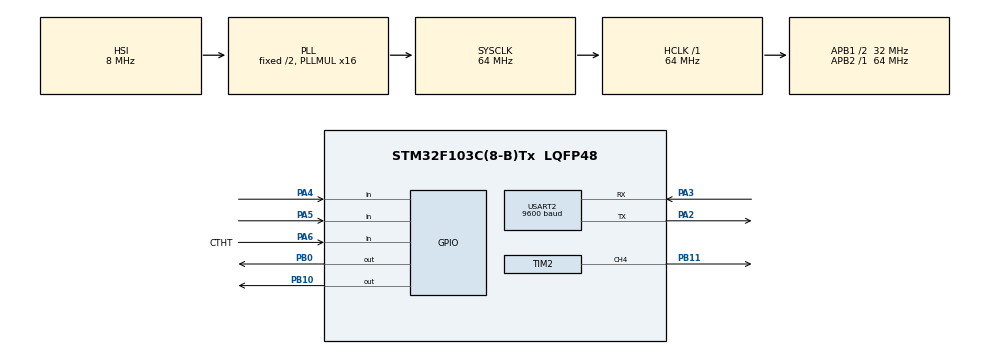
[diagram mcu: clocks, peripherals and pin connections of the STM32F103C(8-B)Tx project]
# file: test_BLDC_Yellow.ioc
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Dma.Request0=USART2_RX
Dma.USART2_RX.0.Direction=DMA_PERIPH_TO_MEMORY
Dma.USART2_RX.0.Instance=DMA1_Channel6
Dma.USART2_RX.0.MemDataAlignment=DMA_MDATAALIGN_BYTE
Dma.USART2_RX.0.MemInc=DMA_MINC_ENABLE
Dma.USART2_RX.0.Mode=DMA_CIRCULAR
Dma.USART2_RX.0.PeriphDataAlignment=DMA_PDATAALIGN_BYTE
Dma.USART2_RX.0.PeriphInc=DMA_PINC_DISABLE
Dma.USART2_RX.0.Priority=DMA_PRIORITY_LOW
Mcu.Family=STM32F1
Mcu.Name=STM32F103C(8-B)Tx
Mcu.Package=LQFP48
NVIC.DMA1_Channel6_IRQn=true\:0\:0\:false\:false\:true\:false\:true\:true
NVIC.PriorityGroup=NVIC_PRIORITYGROUP_4
NVIC.TIM1_BRK_IRQn=true\:0\:0\:false\:false\:true\:true\:true\:true
NVIC.TIM1_CC_IRQn=true\:0\:0\:false\:false\:true\:true\:true\:true
NVIC.TIM1_TRG_COM_IRQn=true\:0\:0\:false\:false\:true\:true\:true\:true
NVIC.TIM1_UP_IRQn=true\:0\:0\:false\:false\:true\:true\:true\:true
NVIC.TIM2_IRQn=true\:0\:0\:false\:false\:true\:true\:true\:true
NVIC.TIM3_IRQn=true\:0\:0\:false\:false\:true\:true\:true\:true
NVIC.USART2_IRQn=true\:0\:0\:false\:false\:true\:true\:true\:true
PA13.Mode=Serial_Wire
PA13.Signal=SYS_JTMS-SWDIO
PA14.Mode=Serial_Wire
PA14.Signal=SYS_JTCK-SWCLK
PA2.Mode=Asynchronous
PA2.Signal=USART2_TX
PA3.Mode=Asynchronous
PA3.Signal=USART2_RX
PA4.Signal=GPIO_Input
PA5.Signal=GPIO_Input
PA6.GPIO_Label=CTHT
PA6.Signal=GPIO_Input
PB0.Signal=GPIO_Output
PB10.GPIO_PuPd=GPIO_PULLDOWN
PB10.Signal=GPIO_Output
PB11.Signal=S_TIM2_CH4
ProjectManager.HeapSize=0x200
ProjectManager.StackSize=0x400
ProjectManager.TargetToolchain=MDK-ARM V5.32
RCC.AHBFreq_Value=64000000
RCC.APB1CLKDivider=RCC_HCLK_DIV2
RCC.APB1Freq_Value=32000000
RCC.APB1TimFreq_Value=64000000
RCC.APB2Freq_Value=64000000
RCC.APB2TimFreq_Value=64000000
RCC.HCLKFreq_Value=64000000
RCC.PLLMUL=RCC_PLL_MUL16
RCC.SYSCLKFreq_VALUE=64000000
RCC.SYSCLKSource=RCC_SYSCLKSOURCE_PLLCLK
RCC.USBFreq_Value=64000000
SH.S_TIM2_CH4.0=TIM2_CH4,PWM Generation4 CH4
TIM1.Period=10
TIM1.Prescaler=63
TIM2.Channel-PWM\ Generation4\ CH4=TIM_CHANNEL_4
TIM2.Period=100
TIM2.Prescaler=6
TIM3.Period=100
TIM3.Prescaler=6
USART2.BaudRate=9600
USART2.VirtualMode=VM_ASYNC
USART2.WordLength=WORDLENGTH_8B
VP_TIM1_VS_ClockSourceINT.Mode=Internal
VP_TIM2_VS_ClockSourceINT.Mode=Internal
VP_TIM3_VS_ClockSourceINT.Mode=Internal
board=custom

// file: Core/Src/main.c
/* USER CODE BEGIN Header */
/**
  ******************************************************************************
  * @file           : main.c
  * @brief          : Main program body
  ******************************************************************************
  * @attention
  *
  * Copyright (c) 2025 STMicroelectronics.
  * All rights reserved.
  *
  * This software is licensed under terms that can be found in the LICENSE file
  * in the root directory of this software component.
  * If no LICENSE file comes with this software, it is provided AS-IS.
  *
  ******************************************************************************
  */
/* USER CODE END Header */
#include "main.h"

/* USER CODE BEGIN PTD */

#define PI 3.14159265359
int8_t Array_ECD[] = {0,-1,1,0,1,0,0,-1,-1,0,0,1,0,1,-1,0};
int32_t EncoderCount;
char EncoderVal =0;
char A1,B1;
double ECD = 0, PrevECD = 0, TargetECD = 0;
int setpoint,prevsetpoint;
double controlSignal,integral,derivative;
float PWM = 0;
float KP=1;
uint8_t MAXPWM = 30;
uint8_t State=0;
uint8_t State_RO =0;
int32_t EncoderCount = 0;
int16_t Encoder[4] = {0};
int32_t SetECD = 0;
int32_t prevTargetECD = 0;
uint8_t DATA[12] = {250,0,0,
                    0,0,
                    0,0,
                    0,0,
                    0,0,200
                   };
uint8_t UDATA[12]= {250,0,0,
                    0,0,
                    0,0,
                    0,0,
                    0,0,200
                   };
uint8_t OneTime_Uart = 0, OneTime_Uart_1=0;
int StatusUart = 0,PreStatusUart = 0;
uint8_t Time = 250;
int8_t Data_X = 0, Data_Y = 0, Data_O = 0;
double Radian =0, Angle = 0,Strength = 0;
uint8_t State_CTHT,State_Home =0, State_Home_1 =0;
int dem,Check,brake;

uint8_t ID_DEVICE = 1;/////////////////////////////////////////////////////////
/* USER CODE END PTD */

TIM_HandleTypeDef htim1;
TIM_HandleTypeDef htim2;
TIM_HandleTypeDef htim3;

UART_HandleTypeDef huart2;
DMA_HandleTypeDef hdma_usart2_rx;

void SystemClock_Config(void);
static void MX_GPIO_Init(void);
static void MX_DMA_Init(void);
static void MX_TIM2_Init(void);
static void MX_TIM3_Init(void);
static void MX_TIM1_Init(void);
static void MX_USART2_UART_Init(void);

/* USER CODE BEGIN 0 */

long map(long x, long in_min, long in_max, long out_min, long out_max) {
    return (x - in_min) * (out_max - out_min) / (in_max - in_min) + out_min;
}
void Trans_Data(void) {
    Encoder[0] = (int16_t)((DATA[1] << 8) | DATA[2]);
    Encoder[1] = (int16_t)((DATA[3] << 8) | DATA[4]);
    Encoder[2] = (int16_t)((DATA[5] << 8) | DATA[6]);
    Encoder[3] = (int16_t)((DATA[7] << 8) | DATA[8]);
}

void XuliPWM() {
    setpoint = SetECD - EncoderCount ;
    if( setpoint > 50 ||  setpoint < -50) {
        KP = 1;
    }
    if( setpoint < 50 ||  setpoint > -50) {
        KP = 0.5;
    }

    controlSignal = (KP	* setpoint);

    if(controlSignal > MAXPWM ) {
        controlSignal = MAXPWM;
    }
    else if(controlSignal< -MAXPWM) {
        controlSignal = -MAXPWM;
    }

    PWM = controlSignal;
		brake= HAL_GPIO_ReadPin(GPIOB, GPIO_PIN_0);
    if(PWM>20) {
        HAL_GPIO_WritePin(GPIOB, GPIO_PIN_10, GPIO_PIN_SET);
				HAL_GPIO_WritePin(GPIOB, GPIO_PIN_0, GPIO_PIN_SET);
        __HAL_TIM_SET_COMPARE(&htim2,TIM_CHANNEL_4,PWM );
				Check=1;
    }
    else if(PWM < -20) {
        HAL_GPIO_WritePin(GPIOB, GPIO_PIN_10, GPIO_PIN_RESET);
				HAL_GPIO_WritePin(GPIOB, GPIO_PIN_0, GPIO_PIN_SET);
        __HAL_TIM_SET_COMPARE(&htim2,TIM_CHANNEL_4,-PWM );
			Check=2;
    }
    else  {
        HAL_GPIO_WritePin(GPIOB, GPIO_PIN_0, GPIO_PIN_RESET);
        __HAL_TIM_SET_COMPARE(&htim2,TIM_CHANNEL_4,0);
			Check=3;
    }
}

void HAL_TIM_PeriodElapsedCallback(TIM_HandleTypeDef *htim)
{
    if(htim == &htim1) {

    }

    if(htim == &htim3) {//6400
        A1 = HAL_GPIO_ReadPin(GPIOA,GPIO_PIN_4);
        B1 = HAL_GPIO_ReadPin(GPIOA,GPIO_PIN_5);
        EncoderVal= EncoderVal<<2;
        EncoderVal= ((A1<<1)|B1|	EncoderVal)&0x0f;
        EncoderCount -= Array_ECD[EncoderVal];
        // Pulse =-EncoderCount/4;
    }
}

void ReceiveDATA() {
    HAL_UART_Receive_DMA(&huart2,DATA,sizeof(DATA));
    if(DATA[0] != 250 || DATA[11] != 200) {
				//NVIC_SystemReset();
        if(OneTime_Uart == 0) {
            HAL_UART_AbortReceive(&huart2);
            __HAL_TIM_SET_COUNTER(&htim1,0);
            PreStatusUart = StatusUart;
            OneTime_Uart = 1;
        }
        if((__HAL_TIM_GET_COUNTER(&htim3) - 0 )>=100) {
            HAL_UART_Receive_DMA(&huart2, DATA, sizeof(DATA));
            StatusUart++;
            OneTime_Uart = 0;
        }
    } else {
        if (ID_DEVICE ==1) {
            SetECD = Encoder[0];
        } else if (ID_DEVICE == 2) {
            SetECD = Encoder[1];
        } else if (ID_DEVICE ==3) {
            SetECD = Encoder[2];
        } else if (ID_DEVICE ==4) {
            SetECD = Encoder[3];
        }
    }
}
void HAL_UART_RxCpltCallback(UART_HandleTypeDef *huart)
{
    if (huart == &huart2)
    {
        HAL_UART_Receive_DMA(&huart2, DATA, sizeof(DATA));
    }
}
/* USER CODE END 0 */

int main(void)
{

  /* MCU Configuration--------------------------------------------------------*/

  /* Reset of all peripherals, Initializes the Flash interface and the Systick. */
  HAL_Init();

  /* Configure the system clock */
  SystemClock_Config();

  /* Initialize all configured peripherals */
  MX_GPIO_Init();
  MX_DMA_Init();
  MX_TIM2_Init();
  MX_TIM3_Init();
  MX_TIM1_Init();
  MX_USART2_UART_Init();
  /* USER CODE BEGIN 2 */
    HAL_TIM_Base_Start_IT(&htim1);
    HAL_TIM_Base_Start_IT(&htim2);
    HAL_TIM_Base_Start_IT(&htim3);

    HAL_TIM_PWM_Start(&htim2, TIM_CHANNEL_4);
    //HAL_UART_Receive_DMA(&huart2, DATA, sizeof(DATA));

  /* USER CODE END 2 */

  /* Infinite loop */
    while (1)
    {

    /* USER CODE BEGIN 3 */
        /*State_CTHT = HAL_GPIO_ReadPin(GPIOA, CTHT_Pin);
        if(State_CTHT == 0 && State_Home == 1) {
            SetECD = 0;
            EncoderCount = 0;
            State_Home = 1;
        }
        //neu chua set home, encoder cong don de dat vi tri sethome
        if(State_Home ==1) {
            SetECD+=10;
            HAL_Delay(1);
        }*/
        //Sethome thanh cong, thuc hien nhan data
        //if(State_Home ==0) {
			//HAL_UART_Receive_DMA(&huart2, DATA, sizeof(DATA));
            ReceiveDATA();
						Trans_Data();
						XuliPWM();
            if(SetECD >= 2000)SetECD = 2000;
            if(SetECD <= -2000)SetECD = -2000;
							dem++;
					HAL_Delay(5);

        //__HAL_TIM_SET_COMPARE(&htim2,TIM_CHANNEL_3,PWM);
        /*if(State == 1){
        HAL_GPIO_WritePin(GPIOB, GPIO_PIN_11, GPIO_PIN_SET);
        }else if(State == 0){
        HAL_GPIO_WritePin(GPIOB, GPIO_PIN_11, GPIO_PIN_RESET);
        }*/
    }
  /* USER CODE END 3 */
}

void SystemClock_Config(void)
{
  RCC_OscInitTypeDef RCC_OscInitStruct = {0};
  RCC_ClkInitTypeDef RCC_ClkInitStruct = {0};

  /** Initializes the RCC Oscillators according to the specified parameters
  * in the RCC_OscInitTypeDef structure.
  */
  RCC_OscInitStruct.OscillatorType = RCC_OSCILLATORTYPE_HSI;
  RCC_OscInitStruct.HSIState = RCC_HSI_ON;
  RCC_OscInitStruct.HSICalibrationValue = RCC_HSICALIBRATION_DEFAULT;
  RCC_OscInitStruct.PLL.PLLState = RCC_PLL_ON;
  RCC_OscInitStruct.PLL.PLLSource = RCC_PLLSOURCE_HSI_DIV2;
  RCC_OscInitStruct.PLL.PLLMUL = RCC_PLL_MUL16;
  if (HAL_RCC_OscConfig(&RCC_OscInitStruct) != HAL_OK)
  {
    Error_Handler();
  }

  /** Initializes the CPU, AHB and APB buses clocks
  */
  RCC_ClkInitStruct.ClockType = RCC_CLOCKTYPE_HCLK|RCC_CLOCKTYPE_SYSCLK
                              |RCC_CLOCKTYPE_PCLK1|RCC_CLOCKTYPE_PCLK2;
  RCC_ClkInitStruct.SYSCLKSource = RCC_SYSCLKSOURCE_PLLCLK;
  RCC_ClkInitStruct.AHBCLKDivider = RCC_SYSCLK_DIV1;
  RCC_ClkInitStruct.APB1CLKDivider = RCC_HCLK_DIV2;
  RCC_ClkInitStruct.APB2CLKDivider = RCC_HCLK_DIV1;

  if (HAL_RCC_ClockConfig(&RCC_ClkInitStruct, FLASH_LATENCY_2) != HAL_OK)
  {
    Error_Handler();
  }
}

static void MX_TIM1_Init(void)
{

  TIM_ClockConfigTypeDef sClockSourceConfig = {0};
  TIM_MasterConfigTypeDef sMasterConfig = {0};

  htim1.Instance = TIM1;
  htim1.Init.Prescaler = 63;
  htim1.Init.CounterMode = TIM_COUNTERMODE_UP;
  htim1.Init.Period = 10;
  htim1.Init.ClockDivision = TIM_CLOCKDIVISION_DIV1;
  htim1.Init.RepetitionCounter = 0;
  htim1.Init.AutoReloadPreload = TIM_AUTORELOAD_PRELOAD_DISABLE;
  if (HAL_TIM_Base_Init(&htim1) != HAL_OK)
  {
    Error_Handler();
  }
  sClockSourceConfig.ClockSource = TIM_CLOCKSOURCE_INTERNAL;
  if (HAL_TIM_ConfigClockSource(&htim1, &sClockSourceConfig) != HAL_OK)
  {
    Error_Handler();
  }
  sMasterConfig.MasterOutputTrigger = TIM_TRGO_RESET;
  sMasterConfig.MasterSlaveMode = TIM_MASTERSLAVEMODE_DISABLE;
  if (HAL_TIMEx_MasterConfigSynchronization(&htim1, &sMasterConfig) != HAL_OK)
  {
    Error_Handler();
  }

}

static void MX_TIM2_Init(void)
{

  TIM_ClockConfigTypeDef sClockSourceConfig = {0};
  TIM_MasterConfigTypeDef sMasterConfig = {0};
  TIM_OC_InitTypeDef sConfigOC = {0};

  htim2.Instance = TIM2;
  htim2.Init.Prescaler = 6;
  htim2.Init.CounterMode = TIM_COUNTERMODE_UP;
  htim2.Init.Period = 100;
  htim2.Init.ClockDivision = TIM_CLOCKDIVISION_DIV1;
  htim2.Init.AutoReloadPreload = TIM_AUTORELOAD_PRELOAD_DISABLE;
  if (HAL_TIM_Base_Init(&htim2) != HAL_OK)
  {
    Error_Handler();
  }
  sClockSourceConfig.ClockSource = TIM_CLOCKSOURCE_INTERNAL;
  if (HAL_TIM_ConfigClockSource(&htim2, &sClockSourceConfig) != HAL_OK)
  {
    Error_Handler();
  }
  if (HAL_TIM_PWM_Init(&htim2) != HAL_OK)
  {
    Error_Handler();
  }
  sMasterConfig.MasterOutputTrigger = TIM_TRGO_RESET;
  sMasterConfig.MasterSlaveMode = TIM_MASTERSLAVEMODE_DISABLE;
  if (HAL_TIMEx_MasterConfigSynchronization(&htim2, &sMasterConfig) != HAL_OK)
  {
    Error_Handler();
  }
  sConfigOC.OCMode = TIM_OCMODE_PWM1;
  sConfigOC.Pulse = 0;
  sConfigOC.OCPolarity = TIM_OCPOLARITY_HIGH;
  sConfigOC.OCFastMode = TIM_OCFAST_DISABLE;
  if (HAL_TIM_PWM_ConfigChannel(&htim2, &sConfigOC, TIM_CHANNEL_4) != HAL_OK)
  {
    Error_Handler();
  }
  HAL_TIM_MspPostInit(&htim2);

}

static void MX_TIM3_Init(void)
{

  TIM_ClockConfigTypeDef sClockSourceConfig = {0};
  TIM_MasterConfigTypeDef sMasterConfig = {0};

  htim3.Instance = TIM3;
  htim3.Init.Prescaler = 6;
  htim3.Init.CounterMode = TIM_COUNTERMODE_UP;
  htim3.Init.Period = 100;
  htim3.Init.ClockDivision = TIM_CLOCKDIVISION_DIV1;
  htim3.Init.AutoReloadPreload = TIM_AUTORELOAD_PRELOAD_DISABLE;
  if (HAL_TIM_Base_Init(&htim3) != HAL_OK)
  {
    Error_Handler();
  }
  sClockSourceConfig.ClockSource = TIM_CLOCKSOURCE_INTERNAL;
  if (HAL_TIM_ConfigClockSource(&htim3, &sClockSourceConfig) != HAL_OK)
  {
    Error_Handler();
  }
  sMasterConfig.MasterOutputTrigger = TIM_TRGO_RESET;
  sMasterConfig.MasterSlaveMode = TIM_MASTERSLAVEMODE_DISABLE;
  if (HAL_TIMEx_MasterConfigSynchronization(&htim3, &sMasterConfig) != HAL_OK)
  {
    Error_Handler();
  }

}

static void MX_USART2_UART_Init(void)
{

  huart2.Instance = USART2;
  huart2.Init.BaudRate = 9600;
  huart2.Init.WordLength = UART_WORDLENGTH_8B;
  huart2.Init.StopBits = UART_STOPBITS_1;
  huart2.Init.Parity = UART_PARITY_NONE;
  huart2.Init.Mode = UART_MODE_TX_RX;
  huart2.Init.HwFlowCtl = UART_HWCONTROL_NONE;
  huart2.Init.OverSampling = UART_OVERSAMPLING_16;
  if (HAL_UART_Init(&huart2) != HAL_OK)
  {
    Error_Handler();
  }

}

static void MX_DMA_Init(void)
{

  /* DMA controller clock enable */
  __HAL_RCC_DMA1_CLK_ENABLE();

  /* DMA interrupt init */
  /* DMA1_Channel6_IRQn interrupt configuration */
  HAL_NVIC_SetPriority(DMA1_Channel6_IRQn, 0, 0);
  HAL_NVIC_EnableIRQ(DMA1_Channel6_IRQn);

}

static void MX_GPIO_Init(void)
{
  GPIO_InitTypeDef GPIO_InitStruct = {0};

  /* GPIO Ports Clock Enable */
  __HAL_RCC_GPIOA_CLK_ENABLE();
  __HAL_RCC_GPIOB_CLK_ENABLE();

  /*Configure GPIO pin Output Level */
  HAL_GPIO_WritePin(GPIOB, GPIO_PIN_0|GPIO_PIN_10, GPIO_PIN_RESET);

  /*Configure GPIO pins : PA4 PA5 CTHT_Pin */
  GPIO_InitStruct.Pin = GPIO_PIN_4|GPIO_PIN_5|CTHT_Pin;
  GPIO_InitStruct.Mode = GPIO_MODE_INPUT;
  GPIO_InitStruct.Pull = GPIO_NOPULL;
  HAL_GPIO_Init(GPIOA, &GPIO_InitStruct);

  /*Configure GPIO pin : PB0 */
  GPIO_InitStruct.Pin = GPIO_PIN_0;
  GPIO_InitStruct.Mode = GPIO_MODE_OUTPUT_PP;
  GPIO_InitStruct.Pull = GPIO_NOPULL;
  GPIO_InitStruct.Speed = GPIO_SPEED_FREQ_LOW;
  HAL_GPIO_Init(GPIOB, &GPIO_InitStruct);

  /*Configure GPIO pin : PB10 */
  GPIO_InitStruct.Pin = GPIO_PIN_10;
  GPIO_InitStruct.Mode = GPIO_MODE_OUTPUT_PP;
  GPIO_InitStruct.Pull = GPIO_PULLDOWN;
  GPIO_InitStruct.Speed = GPIO_SPEED_FREQ_LOW;
  HAL_GPIO_Init(GPIOB, &GPIO_InitStruct);

}

void Error_Handler(void)
{
    __disable_irq();
    while (1)
    {
    }
}
